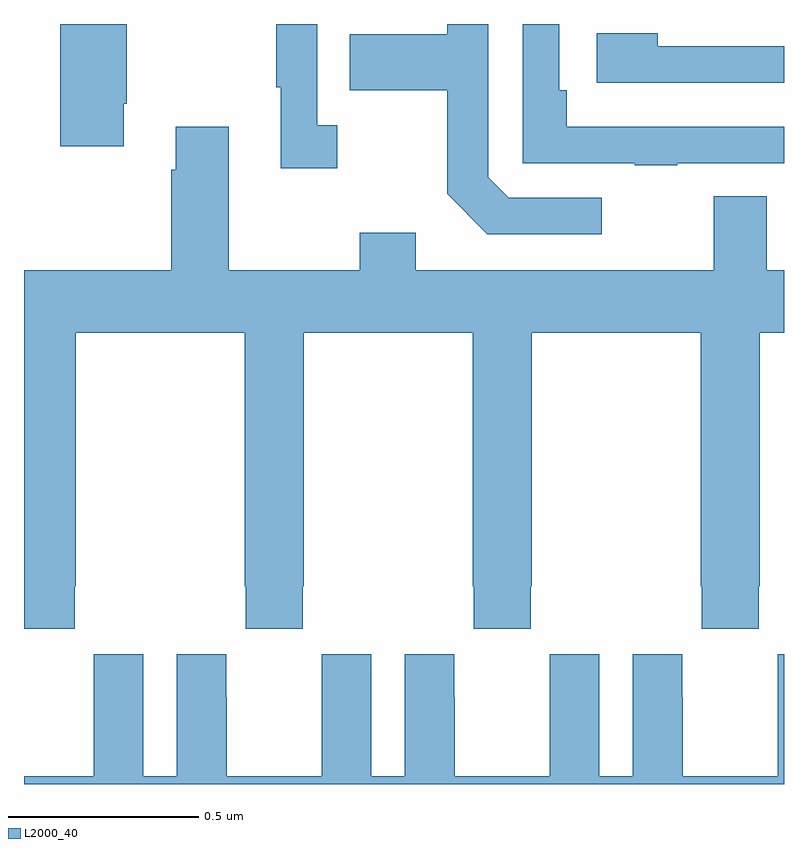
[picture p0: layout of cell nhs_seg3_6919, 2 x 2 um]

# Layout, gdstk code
import gdstk
lib = gdstk.Library(unit=1e-6, precision=1e-09)
def P(c, l, *ps):  # polygons
    for p in ps: c.add(gdstk.Polygon(p, *l))
L2000_40 = (2000, 40)

nhs_seg3_6919 = lib.new_cell('nhs_seg3_6919')
P(nhs_seg3_6919, L2000_40, [(197.263,696.19),(197.271,696.19),(197.271,696.4),(197.096,696.4),(197.096,696.078),(197.263,696.078)],
  [(197.824,696.134),(197.772,696.134),(197.772,696.4),(197.664,696.4),(197.664,696.233),(197.675,696.233),(197.675,696.021),(197.824,696.021)],
  [(198.719,696.033),(199,696.033),(199,696.129),(198.428,696.129),(198.428,696.226),(198.408,696.226),(198.408,696.4),(198.312,696.4),(198.312,696.033),(198.607,696.033),(198.607,696.028),(198.719,696.028)],
  [(198.52,695.943),(198.276,695.943),(198.222,695.997),(198.222,696.4),(198.114,696.4),(198.114,696.373),(197.857,696.373),(197.857,696.226),(198.114,696.226),(198.114,695.953),(198.219,695.847),(198.52,695.847)],
  [(199,696.342),(198.668,696.342),(198.668,696.376),(198.507,696.376),(198.507,696.246),(199,696.246)],
  [(197.133,694.921),(197.136,694.921),(197.136,695.588),(197.581,695.588),(197.581,694.921),(197.583,694.921),(197.583,694.809),(197.733,694.809),(197.733,694.921),(197.736,694.921),(197.736,695.588),(198.181,695.588),(198.181,694.921),(198.183,694.921),(198.183,694.809),(198.333,694.809),(198.333,694.921),(198.336,694.921),(198.336,695.588),(198.781,695.588),(198.781,694.921),(198.783,694.921),(198.783,694.809),(198.933,694.809),(198.933,694.921),(198.936,694.921),(198.936,695.588),(199,695.588),(199,695.752),(198.955,695.752),(198.955,695.947),(198.815,695.947),(198.815,695.752),(198.031,695.752),(198.031,695.851),(197.884,695.851),(197.884,695.752),(197.539,695.752),(197.539,696.13),(197.399,696.13),(197.399,696.017),(197.387,696.017),(197.387,695.752),(197,695.752),(197,694.809),(197.133,694.809)],
  [(199,694.741),(198.984,694.741),(198.984,694.628),(198.983,694.628),(198.983,694.42),(198.733,694.42),(198.733,694.628),(198.732,694.628),(198.732,694.741),(198.602,694.741),(198.602,694.42),(198.514,694.42),(198.514,694.741),(198.384,694.741),(198.384,694.628),(198.383,694.628),(198.383,694.42),(198.133,694.42),(198.133,694.628),(198.132,694.628),(198.132,694.741),(198.002,694.741),(198.002,694.42),(197.914,694.42),(197.914,694.741),(197.784,694.741),(197.784,694.628),(197.783,694.628),(197.783,694.42),(197.533,694.42),(197.533,694.628),(197.532,694.628),(197.532,694.741),(197.402,694.741),(197.402,694.42),(197.314,694.42),(197.314,694.741),(197.184,694.741),(197.184,694.628),(197.183,694.628),(197.183,694.42),(197,694.42),(197,694.4),(199,694.4)])

lib.write_gds('nhs_seg3_6919.gds')
